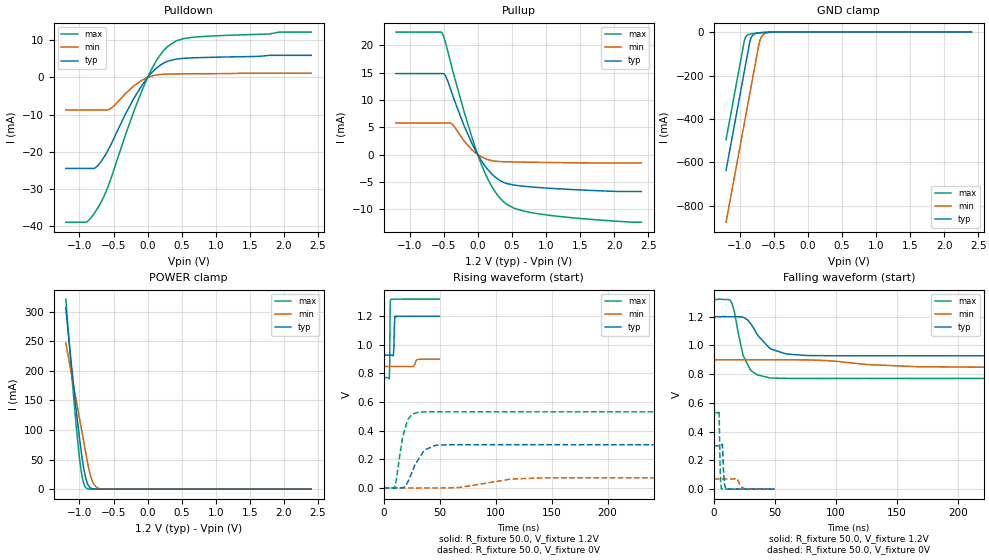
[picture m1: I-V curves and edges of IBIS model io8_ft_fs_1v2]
| [Disclaimer]  This information is for modeling purpose only and is
| not guaranteed. The information is subject to change without
| notice.
| [Copyright] Copyright 2024 STMicroelectronics Inc.
| From stm32c071_ufqfpn28_gp.ibs, stm32c071_ufqfpn28_gp, STMicroelectronics
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[Model]   io8_ft_fs_1v2
Model_type I/O
Polarity   Non-Inverting
Enable   Active-Low
| CAP_THRESHOLD on pad IOFT is "UDTCAPC" :
| Rising=30.0% of vddiom   Falling=70.0% of vddiom
| C_comp min and max val. don't necessarily correlate with the min and max pvt
| but are the smallest and greatest pad capacitance found.
| var   typ   min   max
C_comp   1.65644pF  1.65138pF  1.66819pF
|C_comp_pullup   961.47500fF  918.42500fF  945.97500fF
|C_comp_pulldown   694.96501fF  732.95002fF  722.21001fF
Vinl = 450.0mV
Vinh = 660.0mV
Vmeas = 600.0mV   | Reference voltage for timing measurements
Cref  = 50.0pF   | Timing specification test load capacitance value
Rref  = 1.0MOhm   | Timing specification test load resistance value
Vref  = 660.0mV   | Timing specification test load voltage
[Model Spec]
| TIME_THRESHOLD on pin ZIV12 is "CMOS" :
| Rising=50.0% of vdd   Falling=50.0% of vdd
Vinl 458.70000mV 361.70000mV 499.70000mV
Vinh 728.30000mV 549.30000mV 792.30000mV
| variable   typ   min   max
[Temperature Range] 25.0 125.0 -40.0
| variable   typ   min   max
[Voltage Range] 1.2V 900.0mV 1.32V
| variable   typ   min   max
[POWER Clamp Reference] 1.2V 900.0mV 1.32V
| variable   typ   min   max
[GND Clamp Reference] 0V 0V 0V
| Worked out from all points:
|   slope of the pulldown table from 0 to 0.18 V, typ, clamps not added: 55.6 ohm
|   slope of the pullup table from 0 to 0.18 V, typ, clamps not added: 56.3 ohm
|   GND clamp passes 1 mA (typ) near -0.61 V on its own axis
|   POWER clamp passes 1 mA (typ) near -0.81 V on its own axis
|   rising waveform, R_fixture 50.0, V_fixture 1.2V: 20-80 % time 551ps typ, 1.71ns min, 320ps max; typ from 0.928 V to 1.2 V
|   falling waveform, R_fixture 50.0, V_fixture 1.2V: 20-80 % time 14.9ns typ, 47.6ns min, 9.55ns max; typ from 1.2 V to 0.929 V
|   rising waveform, R_fixture 50.0, V_fixture 0V: 20-80 % time 11.8ns typ, 33.2ns min, 7.29ns max; typ from 0 V to 0.302 V
|   falling waveform, R_fixture 50.0, V_fixture 0V: 20-80 % time 1.15ns typ, 3.04ns min, 786ps max; typ from 0.302 V to 0 V
[POWER Clamp]
-1.2V     306.2mA    246.9mA    321.2mA
-1.09V    180mA      177.2mA    163.4mA
-1.05V    136.9mA    151.8mA    110.9mA
-1.01V    96.55mA    126.4mA    64.02mA
-960mV    52.29mA    94.73mA    20.68mA
-930mV    31.08mA    75.71mA    7.282mA
-900mV    15.67mA    56.69mA    2.025mA
-860mV    4.779mA    33.42mA    315.2uA
-810mV    823.2uA    13.62mA    29.21uA
-760mV    129.2uA    4.248mA    2.687uA
-690mV    9.442uA    651.7uA    95.02nA
2.4V      0A         0A         0A
[GND Clamp]
-1.2V     -636.9mA   -875.6mA   -495.8mA
-940mV    -194.9mA   -433.6mA   -53.78mA
-920mV    -160.9mA   -399.6mA   -28.06mA
-890mV    -109.9mA   -348.6mA   -14.28mA
-850mV    -43.09mA   -280.6mA   -9.18mA
-830mV    -23.96mA   -246.6mA   -8.001mA
-790mV    -9.264mA   -178.6mA   -6.254mA
-710mV    -3.12mA    -46.23mA   -3.486mA
-680mV    -2.303mA   -22.08mA   -2.625mA
-650mV    -1.674mA   -11.03mA   -1.876mA
-450mV    -34.83uA   -165.4uA   -17.32uA
2.4V      336.3pA    36.26nA    239.5pA
| variable   typ   min   max
[Pullup Reference] 1.2V 900.0mV 1.32V
| variable   typ   min   max
[Pulldown Reference] 0V 0V 0V
[Pullup]
-1.2V     14.83mA    5.782mA    22.42mA
-520mV    14.83mA    5.782mA    22.18mA
-470mV    14.33mA    5.782mA    20.38mA
-380mV    11.32mA    5.64mA     16.03mA
-200mV    5.266mA    2.482mA    7.842mA
30mV      -637.7uA   -235uA     -1.032mA
120mV     -2.298mA   -788.2uA   -3.748mA
220mV     -3.712mA   -1.145mA   -6.128mA
410mV     -5.232mA   -1.319mA   -8.966mA
540mV     -5.604mA   -1.354mA   -9.861mA
920mV     -6.061mA   -1.43mA    -10.9mA
2.4V      -6.767mA   -1.538mA   -12.38mA
[Pulldown]
-1.2V     -24.47mA   -8.75mA    -38.94mA
-890mV    -24.47mA   -8.75mA    -38.83mA
-780mV    -24.4mA    -8.75mA    -36.48mA
-710mV    -23.27mA   -8.75mA    -34.44mA
-530mV    -17.77mA   -8.214mA   -26.77mA
-330mV    -10.03mA   -4.428mA   -15.71mA
-80mV     -2.009mA   -705.4uA   -3.396mA
110mV     2.198mA    601.6uA    3.95mA
290mV     4.348mA    923.6uA    8.288mA
420mV     4.961mA    964.2uA    9.88mA
670mV     5.29mA     1.001mA    10.83mA
2.4V      5.965mA    1.157mA    12.22mA
[Ramp]
dV/dt_r 181.24646mV/11.80022ns 42.42245mV/33.21583ns 319.37982mV/7.29009ns
dV/dt_f 162.89709mV/14.89435ns 30.54663mV/47.57376ns 329.36641mV/9.54172ns
R_load = 50.0
| Removed startup time: 0s 0s 0s  .
| Removed end time: 49.75ns.
[Rising Waveform]
R_fixture   = 50.0
V_fixture   = 1.2V
V_fixture_min = 900.0mV
V_fixture_max = 1.32V
0s        928.4mV    849mV      770.7mV
5.1ns     928.5mV    849mV      769.9mV
5.4ns     928.5mV    849mV      872.9mV
5.8ns     928.5mV    849mV      1.262V
6ns       928.5mV    849mV      1.308V
6.5ns     928.5mV    849mV      1.317V
8.85ns    939.4mV    849mV      1.319V
9.6ns     1.142V     849mV      1.319V
10ns      1.199V     849mV      1.319V
49.75ns   1.2V       899.7mV    1.32V
| Removed startup time: 0s 0s 0s  .
| Removed end time: 1.999us.
[Falling Waveform]
R_fixture   = 50.0
V_fixture   = 1.2V
V_fixture_min = 900.0mV
V_fixture_max = 1.32V
0s        1.2V       900mV      1.32V
14ns      1.2V       900mV      1.307V
17ns      1.2V       899.9mV    1.229V
24ns      1.197V     900.4mV    930.6mV
30ns      1.154V     900.3mV    830.2mV
46ns      979.3mV    900mV      774.1mV
60ns      940.6mV    900mV      771.2mV
103ns     928.4mV    887.7mV    770.7mV
219ns     928.5mV    849mV      770.7mV
1.999us   928.5mV    849.1mV    771.1mV
| Removed startup time: 0s 0s 0s  .
| Removed end time: 1.999us.
[Rising Waveform]
R_fixture   = 50.0
V_fixture   = 0V
V_fixture_min = 0V
V_fixture_max = 0V
0s        58.14nV    92.61nV    -3.931uV
10ns      -1.877mV   80.53nV    8.405mV
17ns      1.78mV     -246.4nV   356.7mV
22ns      48.86mV    12.48uV    482.7mV
29ns      175mV      -1.075mV   524.1mV
36ns      259.7mV    -42.93uV   530.8mV
41ns      280.3mV    -29.07uV   532.5mV
57ns      301.9mV    236uV      531.7mV
144ns     302.1mV    70.44mV    531.8mV
1.999us   302.1mV    70.7mV     532.3mV
| Removed startup time: 0s 0s 0s  .
| Removed end time: 49.75ns.
[Falling Waveform]
R_fixture   = 50.0
V_fixture   = 0V
V_fixture_min = 0V
V_fixture_max = 0V
0s        302.1mV    70.7mV     532mV
4.3ns     302.1mV    70.7mV     539.9mV
5.25ns    302.1mV    70.7mV     143.3mV
6.2ns     301.5mV    70.7mV     1.746mV
7.05ns    306.2mV    70.7mV     2.373mV
8.45ns    71.24mV    70.7mV     927.2uV
9.95ns    889.5uV    70.7mV     220.6uV
19.15ns   319uV      71.35mV    189.2uV
24.75ns   229.9uV    4.173mV    135.7uV
49.75ns   -112.3uV   -28.75uV   55.51uV
